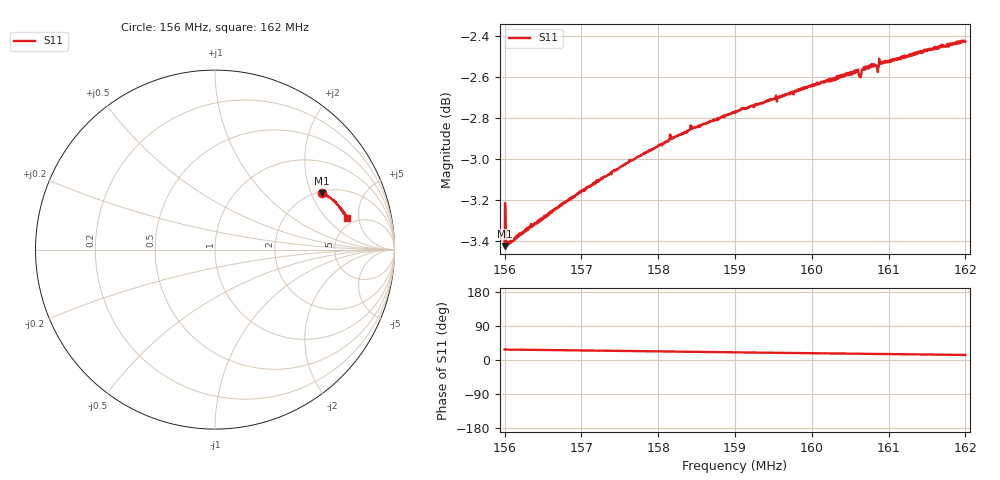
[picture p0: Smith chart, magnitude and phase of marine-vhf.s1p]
! Calibrated averaged scanner-service zoom
# Hz S RI R 50
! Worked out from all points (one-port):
!   1001 points, 156 MHz to 162 MHz, reference 50 ohm
!   lowest |S11| = -3.4 dB at 156 MHz (marker M1), VSWR 5.14, Z = 104 + j120 ohm
!   |S11| at or under -10 dB: nowhere
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1.56e8  0.5968 0.3139
1.56036e8  0.5987 0.3111
1.56048e8  0.5996 0.3113
1.56054e8  0.5992 0.3109
1.56498e8  0.6132 0.3052
1.5675e8  0.6215 0.301
1.575e8  0.6435 0.2871
1.58184e8  0.6627 0.2719
1.5825e8  0.6643 0.2702
1.58448e8  0.6696 0.2654
1.59e8  0.6822 0.2516
1.5909e8  0.6843 0.2492
1.5975e8  0.6972 0.2332
1.59948e8  0.7011 0.2283
1.605e8  0.7116 0.2144
1.60578e8  0.7131 0.2127
1.60614e8  0.7111 0.2121
1.60638e8  0.7105 0.2119
1.6068e8  0.715 0.2099
1.60704e8  0.7154 0.2092
1.60806e8  0.7167 0.2063
1.60842e8  0.7174 0.2045
1.6086e8  0.7154 0.2017
1.6092e8  0.7192 0.2035
1.6125e8  0.724 0.1949
1.61688e8  0.7322 0.1829
1.61964e8  0.7358 0.1754
1.62e8  0.7355 0.1749
